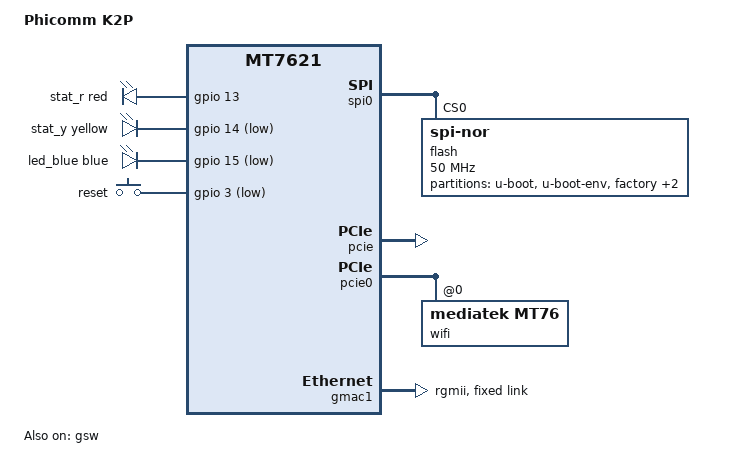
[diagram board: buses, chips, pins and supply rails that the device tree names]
#include "mt7621.dtsi"

#include <dt-bindings/gpio/gpio.h>
#include <dt-bindings/input/input.h>
#include <dt-bindings/leds/common.h>

/ {
	compatible = "phicomm,k2p", "mediatek,mt7621-soc";
	model = "Phicomm K2P";

	aliases {
		led-boot = &led_blue;
		led-failsafe = &led_blue;
		led-running = &led_blue;
		led-upgrade = &led_blue;
		label-mac-device = &gmac0;
	};

	leds {
		compatible = "gpio-leds";

		stat_r {
			function = LED_FUNCTION_STATUS;
			color = <LED_COLOR_ID_RED>;
			gpios = <&gpio 13 GPIO_ACTIVE_HIGH>;
		};

		stat_y {
			function = LED_FUNCTION_STATUS;
			color = <LED_COLOR_ID_YELLOW>;
			gpios = <&gpio 14 GPIO_ACTIVE_LOW>;
		};

		led_blue: stat_b {
			function = LED_FUNCTION_STATUS;
			color = <LED_COLOR_ID_BLUE>;
			gpios = <&gpio 15 GPIO_ACTIVE_LOW>;
		};
	};

	keys {
		compatible = "gpio-keys";

		reset {
			label = "reset";
			gpios = <&gpio 3 GPIO_ACTIVE_LOW>;
			linux,code = <KEY_RESTART>;
		};
	};
};

&spi0 {
	status = "okay";

	flash@0 {
		compatible = "jedec,spi-nor";
		reg = <0>;
		spi-max-frequency = <50000000>;

		partitions {
			compatible = "fixed-partitions";
			#address-cells = <1>;
			#size-cells = <1>;

			partition@0 {
				label = "u-boot";
				reg = <0x0 0x30000>;
				read-only;
			};

			partition@30000 {
				label = "u-boot-env";
				reg = <0x30000 0x10000>;
				read-only;
			};

			partition@40000 {
				label = "factory";
				reg = <0x40000 0x10000>;
				read-only;

				nvmem-layout {
					compatible = "fixed-layout";
					#address-cells = <1>;
					#size-cells = <1>;

					eeprom_factory_0: eeprom@0 {
						reg = <0x0 0x4da8>;
					};

					macaddr_factory_4: macaddr@4 {
						reg = <0x4 0x6>;
					};

					macaddr_factory_e000: macaddr@e000 {
						reg = <0xe000 0x6>;
					};

					macaddr_factory_e006: macaddr@e006 {
						reg = <0xe006 0x6>;
					};
				};
			};

			partition@50000 {
				label = "permanent_config";
				reg = <0x50000 0x50000>;
				read-only;
			};

			partition@a0000 {
				compatible = "denx,uimage";
				label = "firmware";
				reg = <0xa0000 0xf60000>;
			};
		};
	};
};

&pcie {
	status = "okay";
};

&pcie0 {
	wifi@0,0 {
		compatible = "mediatek,mt76";
		reg = <0x0000 0 0 0 0>;

		/* 5 GHz (phy1) does not take the address from calibration data,
		   but setting it manually here works */
		nvmem-cells = <&eeprom_factory_0>, <&macaddr_factory_4>;
		nvmem-cell-names = "eeprom", "mac-address";
	};
};

&gmac0 {
	nvmem-cells = <&macaddr_factory_e000>;
	nvmem-cell-names = "mac-address";
};

&gmac1 {
	status = "okay";
	phy-mode = "rgmii";

	nvmem-cells = <&macaddr_factory_e006>;
	nvmem-cell-names = "mac-address";
	fixed-link {
		speed = <1000>;
		full-duplex;
		pause;
	};
};

&ethphy4 {
	/delete-property/ interrupts;
};

&switch0 {
	/* must delete compatible property */
	/delete-property/ compatible;
};

&gsw {
	compatible = "mediatek,mt753x";
	status = "okay";

	mediatek,mdio = <&mdio>;
	mediatek,portmap = "llllw";
	mt7530,direct-phy-access;
	resets = <&sysc MT7621_RST_MCM>;
	reset-names = "mcm";
	mediatek,mcm;

	#address-cells = <1>;
	#size-cells = <0>;

	port5: port@5 {
		compatible = "mediatek,mt753x-port";
		reg = <5>;
		phy-mode = "rgmii";
		fixed-link {
			speed = <1000>;
			full-duplex;
		};
	};

	port6: port@6 {
		compatible = "mediatek,mt753x-port";
		reg = <6>;
		phy-mode = "rgmii";
		fixed-link {
			speed = <1000>;
			full-duplex;
		};
	};
};

&state_default {
	gpio {
		groups = "i2c", "jtag";
		function = "gpio";
	};
};
